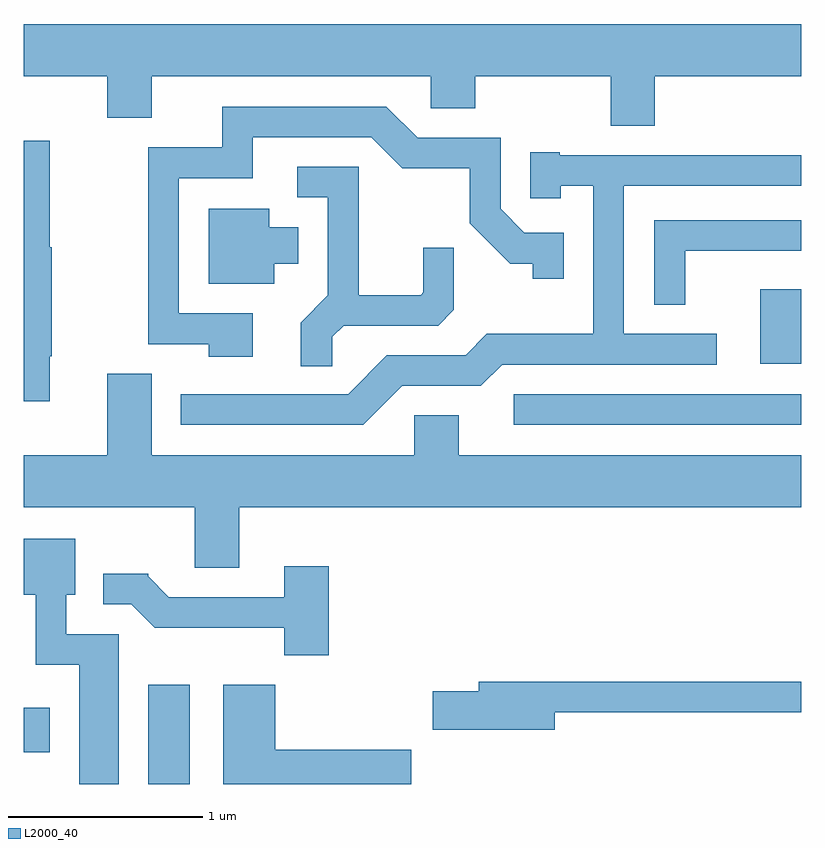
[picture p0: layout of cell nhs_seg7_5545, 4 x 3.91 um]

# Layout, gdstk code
import gdstk
lib = gdstk.Library(unit=1e-6, precision=1e-09)
def R(c, l, rs):  # rectangles x0, y0, x1, y1
    for r in rs: c.add(gdstk.rectangle(r[:2], r[2:], *l))
def P(c, l, *ps):  # polygons
    for p in ps: c.add(gdstk.Polygon(p, *l))
L2000_40 = (2000, 40)

nhs_seg7_5545 = lib.new_cell('nhs_seg7_5545')
R(nhs_seg7_5545, L2000_40, [(356.251,1686.252,356.464,1686.764), (355.611,1686.416,355.744,1686.644), (358.133,1688.101,359.611,1688.259), (359.401,1688.416,359.611,1688.799)])
P(nhs_seg7_5545, L2000_40, [(358.859,1689.896),(359.611,1689.896),(359.611,1690.164),(355.611,1690.164),(355.611,1689.896),(356.041,1689.896),(356.041,1689.681),(356.269,1689.681),(356.269,1689.896),(357.706,1689.896),(357.706,1689.731),(357.934,1689.731),(357.934,1689.896),(358.631,1689.896),(358.631,1689.641),(358.859,1689.641)],
  [(356.789,1688.674),(356.409,1688.674),(356.409,1689.371),(356.789,1689.371),(356.789,1689.581),(357.399,1689.581),(357.559,1689.421),(357.906,1689.421),(357.906,1689.139),(358.114,1688.931),(358.231,1688.931),(358.231,1688.853),(358.389,1688.853),(358.389,1689.089),(358.187,1689.089),(358.064,1689.212),(358.064,1689.579),(357.637,1689.579),(357.477,1689.739),(356.631,1689.739),(356.631,1689.529),(356.251,1689.529),(356.251,1688.516),(356.561,1688.516),(356.561,1688.451),(356.789,1688.451)],
  [(355.744,1688.455),(355.754,1688.455),(355.754,1689.015),(355.744,1689.015),(355.744,1689.564),(355.611,1689.564),(355.611,1688.221),(355.744,1688.221)],
  [(357.557,1688.301),(357.962,1688.301),(358.072,1688.411),(359.178,1688.411),(359.178,1688.569),(358.699,1688.569),(358.699,1689.331),(359.611,1689.331),(359.611,1689.489),(358.37,1689.489),(358.37,1689.504),(358.216,1689.504),(358.216,1689.268),(358.374,1689.268),(358.374,1689.331),(358.541,1689.331),(358.541,1688.569),(357.994,1688.569),(357.884,1688.459),(357.479,1688.459),(357.279,1688.259),(356.418,1688.259),(356.418,1688.101),(357.357,1688.101)],
  [(357.199,1688.554),(357.257,1688.611),(357.744,1688.611),(357.824,1688.692),(357.824,1689.013),(357.666,1689.013),(357.666,1688.782),(357.654,1688.769),(357.334,1688.769),(357.334,1689.429),(357.018,1689.429),(357.018,1689.271),(357.176,1689.271),(357.176,1688.767),(357.036,1688.627),(357.036,1688.403),(357.199,1688.403)],
  [(356.899,1688.931),(357.024,1688.931),(357.024,1689.119),(356.874,1689.119),(356.874,1689.214),(356.561,1689.214),(356.561,1688.826),(356.899,1688.826)],
  [(359.014,1688.996),(359.611,1688.996),(359.611,1689.154),(358.856,1689.154),(358.856,1688.718),(359.014,1688.718)],
  [(356.719,1687.676),(359.611,1687.676),(359.611,1687.944),(357.849,1687.944),(357.849,1688.149),(357.621,1688.149),(357.621,1687.944),(356.269,1687.944),(356.269,1688.364),(356.041,1688.364),(356.041,1687.944),(355.611,1687.944),(355.611,1687.676),(356.491,1687.676),(356.491,1687.366),(356.719,1687.366)],
  [(356.099,1687.024),(355.829,1687.024),(355.829,1687.226),(355.874,1687.226),(355.874,1687.514),(355.611,1687.514),(355.611,1687.226),(355.671,1687.226),(355.671,1686.866),(355.896,1686.866),(355.896,1686.252),(356.099,1686.252)],
  [(357.179,1687.374),(356.951,1687.374),(356.951,1687.214),(356.357,1687.214),(356.25,1687.321),(356.25,1687.334),(356.018,1687.334),(356.018,1687.176),(356.164,1687.176),(356.284,1687.056),(356.951,1687.056),(356.951,1686.916),(357.179,1686.916)],
  [(358.344,1686.621),(359.611,1686.621),(359.611,1686.779),(357.951,1686.779),(357.951,1686.729),(357.716,1686.729),(357.716,1686.531),(358.344,1686.531)],
  [(357.604,1686.429),(356.904,1686.429),(356.904,1686.764),(356.636,1686.764),(356.636,1686.252),(357.604,1686.252)])

lib.write_gds('nhs_seg7_5545.gds')
